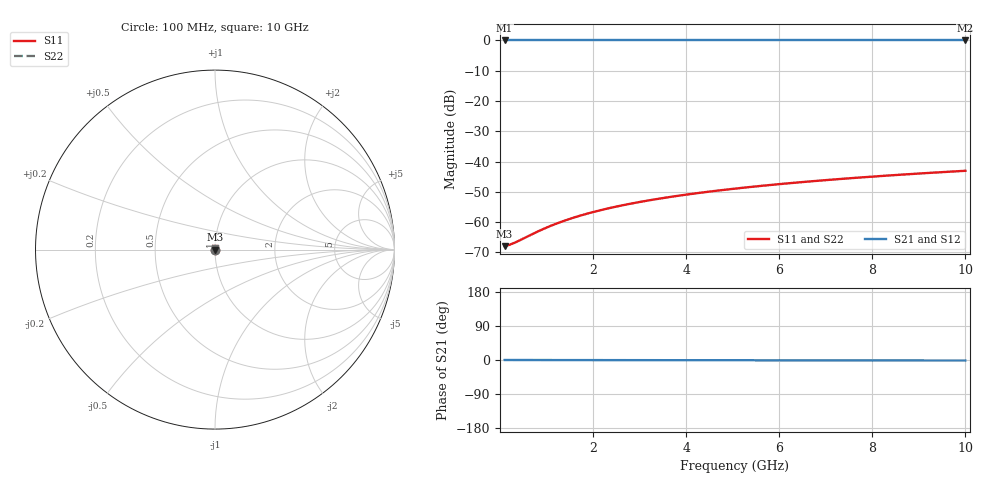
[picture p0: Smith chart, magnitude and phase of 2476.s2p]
# Hz S RI R 50.00
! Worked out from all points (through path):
!   100 points, 100 MHz to 10 GHz, reference 50 ohm
!   highest |S21| = 0.00 dB at 100 MHz (marker M1); lowest = 0.0 dB at 10 GHz (marker M2)
!   lowest |S11| = -67.9 dB at 100 MHz (marker M3), VSWR 1.00, Z = 50 + j0.00703 ohm
!   |S11| at or under -10 dB: start of sweep to end of sweep
!   |S22| runs from -67.9 to -43.0 dB; largest |S21 - S12| = 0
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1e8  0.000395 7.02e-05  0.9996 -0.000235  0.9996 -0.000235  0.000395 7.02e-05
2e8  0.000397 0.00014  0.9996 -0.00047  0.9996 -0.00047  0.000397 0.00014
3e8  0.000399 0.000211  0.9996 -0.000705  0.9996 -0.000705  0.000399 0.000211
4e8  0.000401 0.000281  0.9996 -0.00094  0.9996 -0.00094  0.000401 0.000281
8e8  0.000406 0.000562  0.9996 -0.00188  0.9996 -0.00188  0.000406 0.000562
1.1e9  0.000409 0.000772  0.9996 -0.00258  0.9996 -0.00258  0.000409 0.000772
1.4e9  0.000413 0.000983  0.9996 -0.00329  0.9996 -0.00329  0.000413 0.000983
1.6e9  0.000415 0.00112  0.9996 -0.00376  0.9996 -0.00376  0.000415 0.00112
1.8e9  0.000417 0.00126  0.9996 -0.00423  0.9996 -0.00423  0.000417 0.00126
2.1e9  0.00042 0.00147  0.9996 -0.00493  0.9996 -0.00493  0.00042 0.00147
2.5e9  0.000425 0.00175  0.9996 -0.00587  0.9996 -0.00587  0.000425 0.00175
2.9e9  0.00043 0.00204  0.9996 -0.00681  0.9996 -0.00681  0.00043 0.00204
3.4e9  0.000437 0.00239  0.9995 -0.00799  0.9995 -0.00799  0.000437 0.00239
3.8e9  0.000444 0.00267  0.9995 -0.00893  0.9995 -0.00893  0.000444 0.00267
4.2e9  0.00045 0.00295  0.9995 -0.00987  0.9995 -0.00987  0.00045 0.00295
4.6e9  0.000457 0.00323  0.9995 -0.0108  0.9995 -0.0108  0.000457 0.00323
5.1e9  0.000467 0.00358  0.9995 -0.012  0.9995 -0.012  0.000467 0.00358
5.9e9  0.000484 0.00414  0.9995 -0.0139  0.9995 -0.0139  0.000484 0.00414
6.7e9  0.000503 0.0047  0.9994 -0.0158  0.9994 -0.0158  0.000503 0.0047
7.5e9  0.000524 0.00526  0.9994 -0.0176  0.9994 -0.0176  0.000524 0.00526
8.4e9  0.000551 0.0059  0.9993 -0.0198  0.9993 -0.0198  0.000551 0.0059
1e10  0.000604 0.00702  0.9992 -0.0235  0.9992 -0.0235  0.000604 0.00702
